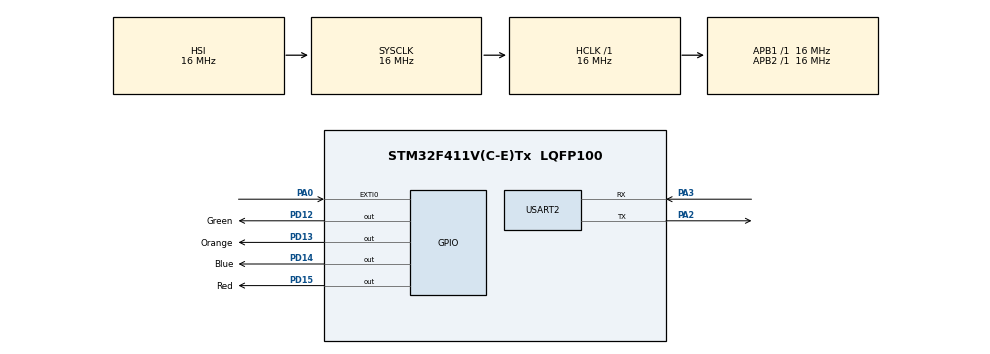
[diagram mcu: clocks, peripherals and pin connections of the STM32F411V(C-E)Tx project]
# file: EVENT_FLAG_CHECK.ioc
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Dma.Request0=USART2_RX
Dma.USART2_RX.0.Direction=DMA_PERIPH_TO_MEMORY
Dma.USART2_RX.0.FIFOMode=DMA_FIFOMODE_DISABLE
Dma.USART2_RX.0.Instance=DMA1_Stream5
Dma.USART2_RX.0.MemDataAlignment=DMA_MDATAALIGN_BYTE
Dma.USART2_RX.0.MemInc=DMA_MINC_ENABLE
Dma.USART2_RX.0.Mode=DMA_CIRCULAR
Dma.USART2_RX.0.PeriphDataAlignment=DMA_PDATAALIGN_BYTE
Dma.USART2_RX.0.PeriphInc=DMA_PINC_DISABLE
Dma.USART2_RX.0.Priority=DMA_PRIORITY_LOW
FREERTOS.Tasks01=defaultTask,8,128,StartDefaultTask,Default,NULL,Dynamic,NULL,NULL;myTask02,24,128,StartTask02,Default,NULL,Dynamic,NULL,NULL
Mcu.Family=STM32F4
Mcu.Name=STM32F411V(C-E)Tx
Mcu.Package=LQFP100
NVIC.DMA1_Stream5_IRQn=true\:5\:0\:false\:false\:true\:true\:false\:true
NVIC.EXTI0_IRQn=true\:5\:0\:false\:false\:true\:true\:true\:true
NVIC.PriorityGroup=NVIC_PRIORITYGROUP_4
NVIC.TIM1_UP_TIM10_IRQn=true\:0\:0\:false\:false\:true\:false\:false\:true
NVIC.TimeBase=TIM1_UP_TIM10_IRQn
NVIC.TimeBaseIP=TIM1
PA0-WKUP.Signal=GPXTI0
PA2.Mode=Asynchronous
PA2.Signal=USART2_TX
PA3.Mode=Asynchronous
PA3.Signal=USART2_RX
PD12.GPIO_Label=Green
PD12.Signal=GPIO_Output
PD13.GPIO_Label=Orange
PD13.Signal=GPIO_Output
PD14.GPIO_Label=Blue
PD14.Signal=GPIO_Output
PD15.GPIO_Label=Red
PD15.Signal=GPIO_Output
ProjectManager.HeapSize=0x200
ProjectManager.StackSize=0x400
ProjectManager.TargetToolchain=MDK-ARM V5
RCC.AHBFreq_Value=16000000
RCC.APB1Freq_Value=16000000
RCC.APB2Freq_Value=16000000
RCC.CortexFreq_Value=16000000
RCC.HSE_VALUE=25000000
RCC.HSI_VALUE=16000000
RCC.LSE_VALUE=32768
RCC.SYSCLKFreq_VALUE=16000000
RCC.VCOOutputFreq_Value=192000000
USART2.VirtualMode=VM_ASYNC
VP_FREERTOS_VS_CMSIS_V2.Mode=CMSIS_V2
VP_SYS_VS_tim1.Mode=TIM1
board=custom

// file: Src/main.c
/* USER CODE BEGIN Header */
/**
  ******************************************************************************
  * @file           : main.c
  * @brief          : Main program body
  ******************************************************************************
  * @attention
  *
  * <h2><center>&copy; Copyright (c) 2019 STMicroelectronics.
  * All rights reserved.</center></h2>
  *
  * This software component is licensed by ST under Ultimate Liberty license
  * SLA0044, the "License"; You may not use this file except in compliance with
  * the License. You may obtain a copy of the License at:
  *                             www.st.com/SLA0044
  *
  ******************************************************************************
  */
/* USER CODE END Header */

#include "main.h"
#include "cmsis_os.h"

/* USER CODE BEGIN PD */
#define FLAGS_MSK			0x00000003U
/* USER CODE END PD */

UART_HandleTypeDef huart2;
DMA_HandleTypeDef hdma_usart2_rx;

osThreadId_t defaultTaskHandle;
osThreadId_t myTask02Handle;
/* USER CODE BEGIN PV */
osEventFlagsId_t evt_id;
uint32_t flags;
char rxData[10];
/* USER CODE END PV */

void SystemClock_Config(void);
static void MX_GPIO_Init(void);
static void MX_DMA_Init(void);
static void MX_USART2_UART_Init(void);
void StartDefaultTask(void *argument);
void StartTask02(void *argument);

int main(void)
{

  /* MCU Configuration--------------------------------------------------------*/

  /* Reset of all peripherals, Initializes the Flash interface and the Systick. */
  HAL_Init();

  /* Configure the system clock */
  SystemClock_Config();

  /* Initialize all configured peripherals */
  MX_GPIO_Init();
  MX_DMA_Init();
  MX_USART2_UART_Init();
  /* USER CODE BEGIN 2 */
HAL_UART_Receive_DMA(&huart2, (uint8_t *)rxData, 1);
  /* USER CODE END 2 */

  osKernelInitialize();

  /* Create the thread(s) */
  /* definition and creation of defaultTask */
  const osThreadAttr_t defaultTask_attributes = {
    .name = "defaultTask",
    .priority = (osPriority_t) osPriorityLow,
    .stack_size = 128
  };
  defaultTaskHandle = osThreadNew(StartDefaultTask, NULL, &defaultTask_attributes);

  /* definition and creation of myTask02 */
  const osThreadAttr_t myTask02_attributes = {
    .name = "myTask02",
    .priority = (osPriority_t) osPriorityNormal,
    .stack_size = 128
  };
  myTask02Handle = osThreadNew(StartTask02, NULL, &myTask02_attributes);

  /* USER CODE BEGIN RTOS_THREADS */
  /* add threads, ... */
	evt_id = osEventFlagsNew(NULL);
	  if (evt_id == NULL) {
    ; // Event Flags object not created, handle failure
    while(1);
  }
  /* USER CODE END RTOS_THREADS */

  /* Start scheduler */
  osKernelStart();

  /* We should never get here as control is now taken by the scheduler */

  /* Infinite loop */
  while (1)
  {

  }
}

void SystemClock_Config(void)
{
  RCC_OscInitTypeDef RCC_OscInitStruct = {0};
  RCC_ClkInitTypeDef RCC_ClkInitStruct = {0};

  /** Configure the main internal regulator output voltage
  */
  __HAL_RCC_PWR_CLK_ENABLE();
  __HAL_PWR_VOLTAGESCALING_CONFIG(PWR_REGULATOR_VOLTAGE_SCALE1);
  /** Initializes the CPU, AHB and APB busses clocks
  */
  RCC_OscInitStruct.OscillatorType = RCC_OSCILLATORTYPE_HSI;
  RCC_OscInitStruct.HSIState = RCC_HSI_ON;
  RCC_OscInitStruct.HSICalibrationValue = RCC_HSICALIBRATION_DEFAULT;
  RCC_OscInitStruct.PLL.PLLState = RCC_PLL_NONE;
  if (HAL_RCC_OscConfig(&RCC_OscInitStruct) != HAL_OK)
  {
    Error_Handler();
  }
  /** Initializes the CPU, AHB and APB busses clocks
  */
  RCC_ClkInitStruct.ClockType = RCC_CLOCKTYPE_HCLK|RCC_CLOCKTYPE_SYSCLK
                              |RCC_CLOCKTYPE_PCLK1|RCC_CLOCKTYPE_PCLK2;
  RCC_ClkInitStruct.SYSCLKSource = RCC_SYSCLKSOURCE_HSI;
  RCC_ClkInitStruct.AHBCLKDivider = RCC_SYSCLK_DIV1;
  RCC_ClkInitStruct.APB1CLKDivider = RCC_HCLK_DIV1;
  RCC_ClkInitStruct.APB2CLKDivider = RCC_HCLK_DIV1;

  if (HAL_RCC_ClockConfig(&RCC_ClkInitStruct, FLASH_LATENCY_0) != HAL_OK)
  {
    Error_Handler();
  }
}

static void MX_USART2_UART_Init(void)
{

  huart2.Instance = USART2;
  huart2.Init.BaudRate = 115200;
  huart2.Init.WordLength = UART_WORDLENGTH_8B;
  huart2.Init.StopBits = UART_STOPBITS_1;
  huart2.Init.Parity = UART_PARITY_NONE;
  huart2.Init.Mode = UART_MODE_TX_RX;
  huart2.Init.HwFlowCtl = UART_HWCONTROL_NONE;
  huart2.Init.OverSampling = UART_OVERSAMPLING_16;
  if (HAL_UART_Init(&huart2) != HAL_OK)
  {
    Error_Handler();
  }

}

static void MX_DMA_Init(void)
{

  /* DMA controller clock enable */
  __HAL_RCC_DMA1_CLK_ENABLE();

  /* DMA interrupt init */
  /* DMA1_Stream5_IRQn interrupt configuration */
  HAL_NVIC_SetPriority(DMA1_Stream5_IRQn, 5, 0);
  HAL_NVIC_EnableIRQ(DMA1_Stream5_IRQn);

}

static void MX_GPIO_Init(void)
{
  GPIO_InitTypeDef GPIO_InitStruct = {0};

  /* GPIO Ports Clock Enable */
  __HAL_RCC_GPIOA_CLK_ENABLE();
  __HAL_RCC_GPIOD_CLK_ENABLE();

  /*Configure GPIO pin Output Level */
  HAL_GPIO_WritePin(GPIOD, Green_Pin|Orange_Pin|Blue_Pin|Red_Pin, GPIO_PIN_RESET);

  /*Configure GPIO pin : PA0 */
  GPIO_InitStruct.Pin = GPIO_PIN_0;
  GPIO_InitStruct.Mode = GPIO_MODE_IT_RISING;
  GPIO_InitStruct.Pull = GPIO_NOPULL;
  HAL_GPIO_Init(GPIOA, &GPIO_InitStruct);

  /*Configure GPIO pins : Green_Pin Orange_Pin Blue_Pin Red_Pin */
  GPIO_InitStruct.Pin = Green_Pin|Orange_Pin|Blue_Pin|Red_Pin;
  GPIO_InitStruct.Mode = GPIO_MODE_OUTPUT_PP;
  GPIO_InitStruct.Pull = GPIO_NOPULL;
  GPIO_InitStruct.Speed = GPIO_SPEED_FREQ_LOW;
  HAL_GPIO_Init(GPIOD, &GPIO_InitStruct);

  /* EXTI interrupt init*/
  HAL_NVIC_SetPriority(EXTI0_IRQn, 5, 0);
  HAL_NVIC_EnableIRQ(EXTI0_IRQn);

}

/* USER CODE BEGIN 4 */
volatile uint8_t flag = 0;
void HAL_GPIO_EXTI_Callback(uint16_t GPIO_Pin)
{
  /* Prevent unused argument(s) compilation warning */
  UNUSED(GPIO_Pin);
  /* NOTE: This function Should not be modified, when the callback is needed,
           the HAL_GPIO_EXTI_Callback could be implemented in the user file
   */
	for(int i=0; i<100;i++)
		for(int j=0; j<100; j++);
	if(flag == 0)
	{
		flag = 1;
		osEventFlagsSet(evt_id, 0x00000001U);
	}
	else
	{
		flag = 0;
		osEventFlagsSet(evt_id, 0x00000002U);
	}
	/*
	if(GPIO_Pin == GPIO_PIN_0)
	{
		osEventFlagsSet(evt_id, 0x00000001U);
	}*/
	/*
	else if(GPIO_Pin == GPIO_PIN_1)
	{
		osEventFlagsSet(evt_id, 0x00000002U);
	}*/

}

void HAL_UART_RxCpltCallback(UART_HandleTypeDef *huart)
{
  /* Prevent unused argument(s) compilation warning */
  UNUSED(huart);
  /* NOTE: This function should not be modified, when the callback is needed,
           the HAL_UART_RxCpltCallback could be implemented in the user file
   */
	HAL_UART_Transmit(&huart2,(uint8_t *)rxData,1,10);
	//osEventFlagsSet(evt_id, 0x00000002U);

}

/* USER CODE END 4 */

void StartDefaultTask(void *argument)
{

  /* USER CODE BEGIN 5 */
  /* Infinite loop */
  for(;;)
  {
    HAL_GPIO_TogglePin(GPIOD, Green_Pin);
    osDelay(1000);
  }
  /* USER CODE END 5 */
}

void StartTask02(void *argument)
{
  /* USER CODE BEGIN StartTask02 */
  /* Infinite loop */
  for(;;)
  {
    flags = 0;
		flags = osEventFlagsWait(evt_id, FLAGS_MSK, osFlagsWaitAny, osWaitForever);
		if(flags != osFlagsErrorResource && flags != osFlagsErrorParameter)
		{
			if(flags == 0x00000001)
			{
				HAL_GPIO_TogglePin(GPIOD, GPIO_PIN_13);
			}
			else if(flags == 0x00000002)
			{
				HAL_GPIO_TogglePin(GPIOD, GPIO_PIN_14);
			}
			//osDelay(1000);
			flags = 0;
		}
  }
  /* USER CODE END StartTask02 */
}

void HAL_TIM_PeriodElapsedCallback(TIM_HandleTypeDef *htim)
{
  if (htim->Instance == TIM1) {
    HAL_IncTick();
  }
}

void Error_Handler(void)
{
}

/************************ (C) COPYRIGHT STMicroelectronics *****END OF FILE****/
